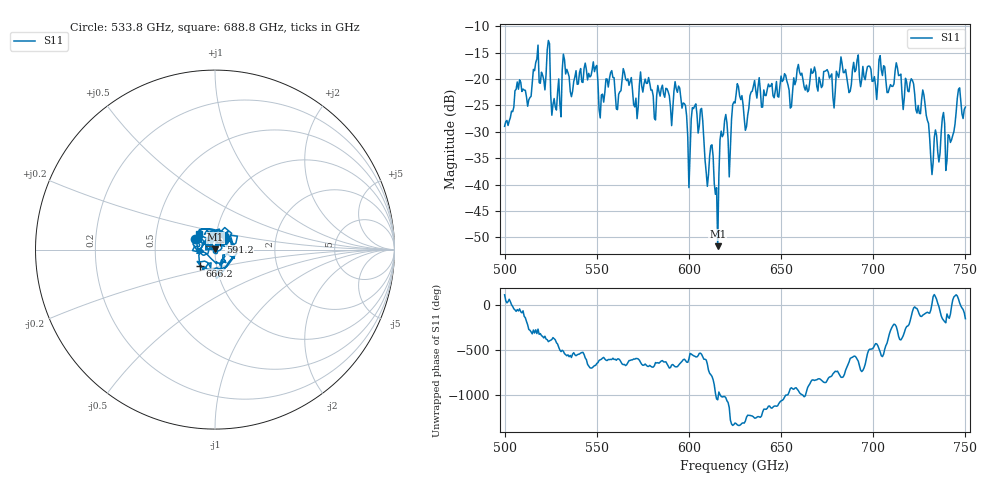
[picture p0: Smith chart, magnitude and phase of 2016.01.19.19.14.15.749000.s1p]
!Created with skrf (http://scikit-rf.org).
# GHz S RI R 50.0
!freq ReS11 ImS11
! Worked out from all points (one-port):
!   401 points, 500 GHz to 750 GHz, reference 50 ohm
!   lowest |S11| = -51.6 dB at 615.6 GHz (marker M1), VSWR 1.01, Z = 50.2 + j0.0958 ohm
!   |S11| at or under -10 dB: start of sweep to end of sweep
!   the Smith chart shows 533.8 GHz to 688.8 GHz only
!   S11 on the Smith chart (normalised r, x): 533.8 GHz: 0.80, +0.09; 591.2 GHz: 1.06, +0.09; 666.2 GHz: 0.83, -0.15; 688.8 GHz: 0.83, +0.14
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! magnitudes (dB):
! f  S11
! 500 GHz  -29.0
! 507.5 GHz  -21.9
! 513.1 GHz  -23.9
! 516.9 GHz  -16.9
! 523.8 GHz  -12.7
! 526.9 GHz  -23.7
! 531.2 GHz  -18.3
! 533.8 GHz  -18.2
! 562.5 GHz  -22.4
! 591.2 GHz  -25.7
! 593.8 GHz  -22.5
! 600 GHz  -40.6
! 602.5 GHz  -25.6
! 606.9 GHz  -25.6
! 609.4 GHz  -37.7
! 615.6 GHz  -51.6
! 618.1 GHz  -30.9
! 621.9 GHz  -38.5
! 625 GHz  -24.6
! 631.2 GHz  -29.0
! 656.2 GHz  -22.3
! 666.2 GHz  -18.1
! 687.5 GHz  -22.3
! 688.8 GHz  -18.2
! 718.8 GHz  -22.3
! 727.5 GHz  -23.0
! 731.9 GHz  -38.1
! 750 GHz  -25.3
